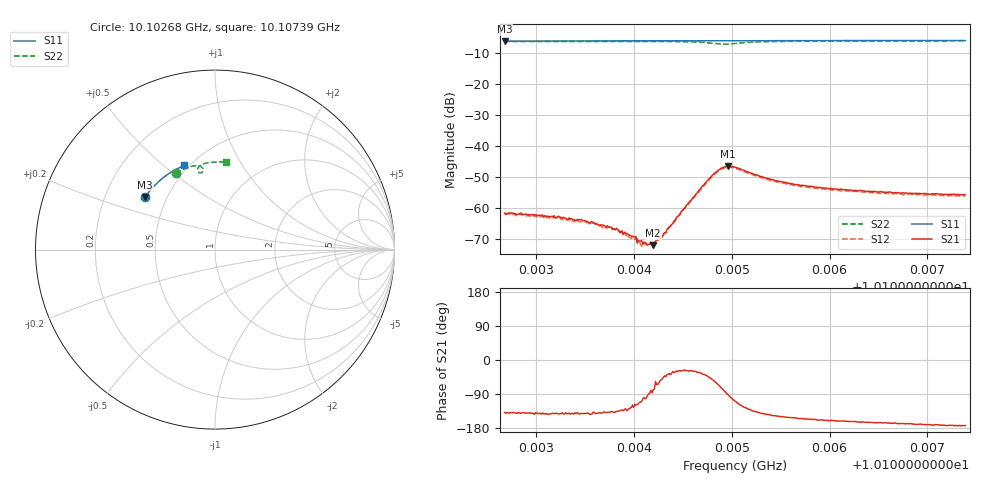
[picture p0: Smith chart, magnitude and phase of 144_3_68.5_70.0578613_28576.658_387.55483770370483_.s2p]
#  HZ  S  RI  R  50.00
! Rohde & Schwarz Vector Network Analyzer
! Rohde-Schwarz,ZNB20-2Port,1311601062101988,3.16
! Created: UTC 3/20/2024, 5:10:09 PM
! freq[Hz]  re:S11  im:S11  re:S21  im:S21  re:S12  im:S12  re:S22  im:S22
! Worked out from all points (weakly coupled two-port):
!   401 points, 10.10268 GHz to 10.10739 GHz, reference 50 ohm
!   highest |S21| = -46.52 dB at 10.10496 GHz (marker M1); lowest = -72.0 dB at 10.1042 GHz (marker M2)
!   lowest |S11| = -6.3 dB at 10.10268 GHz (marker M3), VSWR 2.90, Z = 18.9 + j14.5 ohm
!   |S11| at or under -10 dB: nowhere
!   |S22| runs from -7.2 to -6.2 dB; largest |S21 - S12| = 0.00049
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1.0102681e10  -0.389 0.2928  -0.000622 -0.000544  -0.000549 -0.000562  -0.2184 0.4266
1.010307e10  -0.3752 0.3122  -0.000588 -0.000495  -0.000529 -0.000495  -0.1957 0.4386
1.010347e10  -0.3601 0.3312  -0.000502 -0.000408  -0.000446 -0.000407  -0.1712 0.4498
1.0103764e10  -0.3485 0.3447  -0.000362 -0.000338  -0.000319 -0.000347  -0.152 0.457
1.0103952e10  -0.3406 0.353  -0.000226 -0.000286  -0.000194 -0.000285  -0.1392 0.4611
1.0104011e10  -0.3382 0.3557  -0.000152 -0.000302  -0.000152 -0.000275  -0.135 0.4622
1.0104058e10  -0.3363 0.3577  -0.00011 -0.000271  -9.82e-05 -0.000268  -0.1316 0.4633
1.0104093e10  -0.3346 0.3593  -5.59e-05 -0.000254  -6.6e-05 -0.000266  -0.129 0.4639
1.0104152e10  -0.3321 0.3617  1.42e-06 -0.000259  1.48e-05 -0.000245  -0.1244 0.465
1.0104199e10  -0.3301 0.3638  5.1e-05 -0.000245  8.21e-05 -0.000235  -0.1209 0.4658
1.0104223e10  -0.3292 0.3648  0.000159 -0.000244  0.000102 -0.000239  -0.1191 0.4661
1.0104258e10  -0.3276 0.3663  0.00016 -0.000282  0.000198 -0.000252  -0.1163 0.4665
1.0104305e10  -0.3255 0.3683  0.000269 -0.00027  0.00027 -0.000269  -0.1124 0.4672
1.0104517e10  -0.3161 0.3771  0.000891 -0.000435  0.000899 -0.000385  -0.0927 0.4673
1.0104799e10  -0.3033 0.3883  0.00213 -0.00256  0.00221 -0.00226  -0.066 0.4454
1.0104881e10  -0.2995 0.3914  0.00145 -0.00397  0.00178 -0.00371  -0.0708 0.4315
1.0104964e10  -0.2958 0.3944  -0.000172 -0.00472  0.000279 -0.00452  -0.0856 0.428
1.0105034e10  -0.2926 0.3972  -0.00142 -0.00431  -0.00102 -0.00426  -0.095 0.4359
1.0105434e10  -0.2734 0.4121  -0.00236 -0.00149  -0.00213 -0.00166  -0.074 0.4732
1.0105823e10  -0.254 0.4254  -0.00203 -0.000878  -0.00186 -0.00102  -0.0445 0.4825
1.0106611e10  -0.2127 0.4495  -0.00175 -0.000446  -0.00161 -0.000539  0.00983 0.4883
1.0107387e10  -0.1702 0.469  -0.00163 -0.000211  -0.00154 -0.000313  0.0607 0.4869
